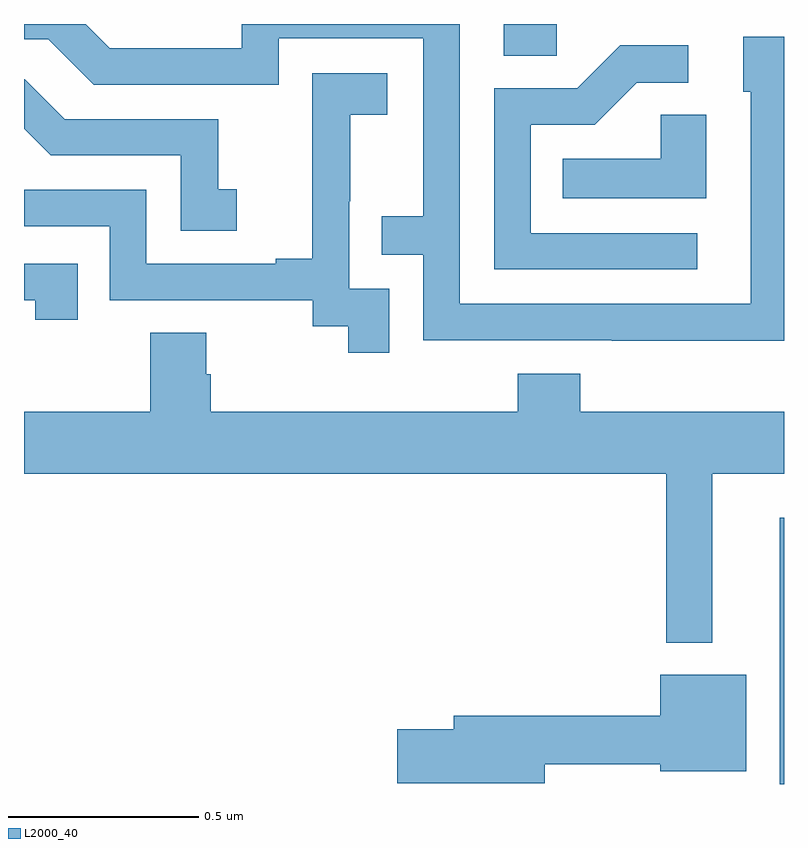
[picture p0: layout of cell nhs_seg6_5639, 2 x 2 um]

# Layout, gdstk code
import gdstk
lib = gdstk.Library(unit=1e-6, precision=1e-09)
def R(c, l, rs):  # rectangles x0, y0, x1, y1
    for r in rs: c.add(gdstk.rectangle(r[:2], r[2:], *l))
def P(c, l, *ps):  # polygons
    for p in ps: c.add(gdstk.Polygon(p, *l))
L2000_40 = (2000, 40)

nhs_seg6_5639 = lib.new_cell('nhs_seg6_5639')
R(nhs_seg6_5639, L2000_40, [(186.989,966.5,187,967.201), (186.263,968.416,186.402,968.5)])
P(nhs_seg6_5639, L2000_40, [(187,968.467),(186.893,968.467),(186.893,968.322),(186.912,968.322),(186.912,967.764),(186.147,967.764),(186.147,968.5),(185.573,968.5),(185.573,968.436),(185.226,968.436),(185.162,968.5),(185,968.5),(185,968.46),(185.064,968.46),(185.184,968.34),(185.67,968.34),(185.67,968.463),(186.051,968.463),(186.051,967.994),(185.941,967.994),(185.941,967.893),(186.051,967.893),(186.051,967.668),(186.547,967.668),(186.547,967.667),(187,967.667)],
  [(186.772,967.95),(186.333,967.95),(186.333,968.235),(186.502,968.235),(186.613,968.346),(186.748,968.346),(186.748,968.444),(186.569,968.444),(186.456,968.331),(186.237,968.331),(186.237,967.854),(186.772,967.854)],
  [(185.961,967.803),(185.856,967.803),(185.856,968.033),(185.858,968.033),(185.858,968.261),(185.956,968.261),(185.956,968.371),(185.758,968.371),(185.758,968.165),(185.759,968.165),(185.759,967.882),(185.663,967.882),(185.663,967.869),(185.322,967.869),(185.322,968.064),(185,968.064),(185,967.968),(185.226,967.968),(185.226,967.773),(185.76,967.773),(185.76,967.705),(185.853,967.705),(185.853,967.635),(185.961,967.635)],
  [(185.56,968.065),(185.511,968.065),(185.511,968.25),(185.107,968.25),(185.002,968.355),(185,968.355),(185,968.224),(185.07,968.154),(185.412,968.154),(185.412,967.956),(185.56,967.956)],
  [(186.796,968.261),(186.675,968.261),(186.675,968.146),(186.418,968.146),(186.418,968.042),(186.796,968.042)],
  [(185.141,967.869),(185,967.869),(185,967.773),(185.03,967.773),(185.03,967.722),(185.141,967.722)],
  [(185.332,967.688),(185.332,967.48),(185,967.48),(185,967.316),(186.69,967.316),(186.69,966.872),(186.811,966.872),(186.811,967.316),(187,967.316),(187,967.48),(186.464,967.48),(186.464,967.579),(186.299,967.579),(186.299,967.48),(185.492,967.48),(185.492,967.578),(185.479,967.578),(185.479,967.688)],
  [(186.37,966.552),(186.674,966.552),(186.674,966.533),(186.901,966.533),(186.901,966.787),(186.674,966.787),(186.674,966.68),(186.131,966.68),(186.131,966.644),(185.982,966.644),(185.982,966.502),(186.37,966.502)])

lib.write_gds('nhs_seg6_5639.gds')
